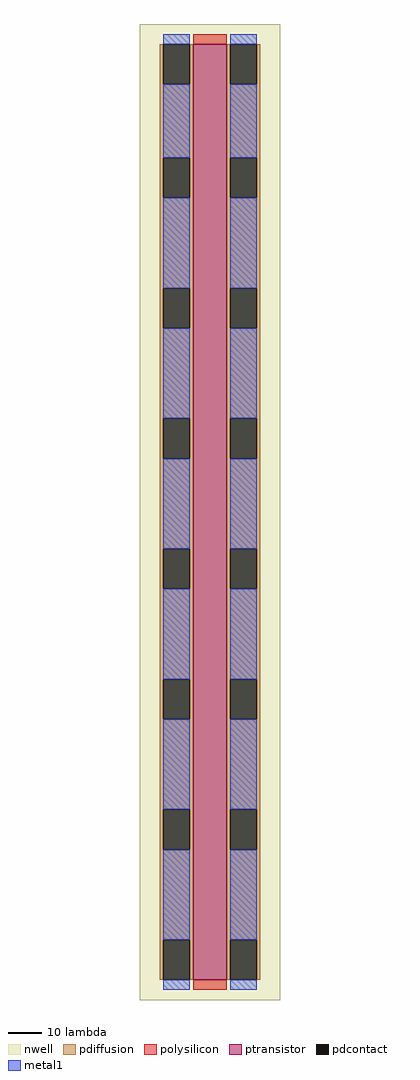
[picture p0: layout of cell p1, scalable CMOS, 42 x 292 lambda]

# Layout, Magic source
magic
tech scmos
<< nwell >>
rect -16 -6 26 286
<< ptransistor >>
rect 0 0 10 280
<< pdiffusion >>
rect -10 268 -9 280
rect -1 268 0 280
rect -10 246 0 268
rect -10 234 -9 246
rect -1 234 0 246
rect -10 207 0 234
rect -10 195 -9 207
rect -1 195 0 207
rect -10 168 0 195
rect -10 156 -9 168
rect -1 156 0 168
rect -10 129 0 156
rect -10 117 -9 129
rect -1 117 0 129
rect -10 90 0 117
rect -10 78 -9 90
rect -1 78 0 90
rect -10 51 0 78
rect -10 39 -9 51
rect -1 39 0 51
rect -10 12 0 39
rect -10 0 -9 12
rect -1 0 0 12
rect 10 268 11 280
rect 19 268 20 280
rect 10 246 20 268
rect 10 234 11 246
rect 19 234 20 246
rect 10 207 20 234
rect 10 195 11 207
rect 19 195 20 207
rect 10 168 20 195
rect 10 156 11 168
rect 19 156 20 168
rect 10 129 20 156
rect 10 117 11 129
rect 19 117 20 129
rect 10 90 20 117
rect 10 78 11 90
rect 19 78 20 90
rect 10 51 20 78
rect 10 39 11 51
rect 19 39 20 51
rect 10 12 20 39
rect 10 0 11 12
rect 19 0 20 12
<< pdcontact >>
rect -9 268 -1 280
rect -9 234 -1 246
rect -9 195 -1 207
rect -9 156 -1 168
rect -9 117 -1 129
rect -9 78 -1 90
rect -9 39 -1 51
rect -9 0 -1 12
rect 11 268 19 280
rect 11 234 19 246
rect 11 195 19 207
rect 11 156 19 168
rect 11 117 19 129
rect 11 78 19 90
rect 11 39 19 51
rect 11 0 19 12
<< polysilicon >>
rect 0 280 10 283
rect 0 -3 10 0
<< metal1 >>
rect -9 280 -1 283
rect -9 246 -1 268
rect -9 207 -1 234
rect -9 168 -1 195
rect -9 129 -1 156
rect -9 90 -1 117
rect -9 51 -1 78
rect -9 12 -1 39
rect -9 -3 -1 0
rect 11 280 19 283
rect 11 246 19 268
rect 11 207 19 234
rect 11 168 19 195
rect 11 129 19 156
rect 11 90 19 117
rect 11 51 19 78
rect 11 12 19 39
rect 11 -3 19 0
<< end >>
